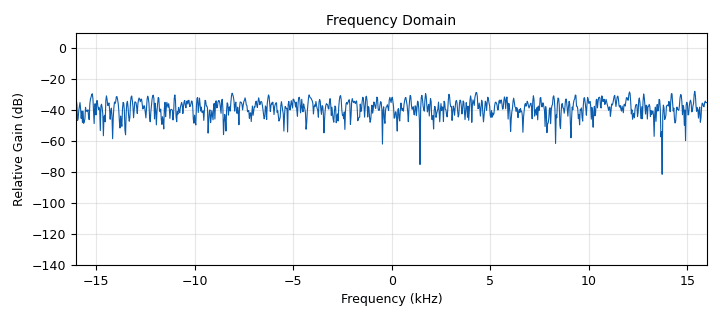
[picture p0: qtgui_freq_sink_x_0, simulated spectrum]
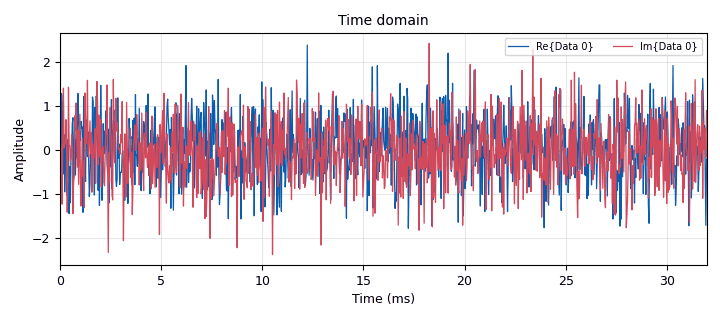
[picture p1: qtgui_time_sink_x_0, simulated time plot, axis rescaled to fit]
options:
  parameters:
    generate_options: qt_gui
    id: noise_test
    output_language: python
    title: Not titled yet
  states: {}

blocks:
- name: samp_rate
  id: variable
  parameters:
    value: '32000'
  states: {}
- name: analog_noise_source_x_0
  id: analog_noise_source_x
  parameters:
    amp: '1'
    noise_type: analog.GR_GAUSSIAN
    seed: '0'
    type: complex
  states: {}
- name: qtgui_freq_sink_x_0
  id: qtgui_freq_sink_x
  parameters:
    bw: samp_rate
    fc: '0'
    fftsize: '1024'
    name: '"Frequency Domain"'
    type: complex
  states: {}
- name: qtgui_time_sink_x_0
  id: qtgui_time_sink_x
  parameters:
    name: '"Time domain"'
    size: '1024'
    srate: samp_rate
    type: complex
  states: {}

connections:
- [analog_noise_source_x_0, '0', qtgui_freq_sink_x_0, '0']
- [analog_noise_source_x_0, '0', qtgui_time_sink_x_0, '0']

metadata:
  file_format: 1
